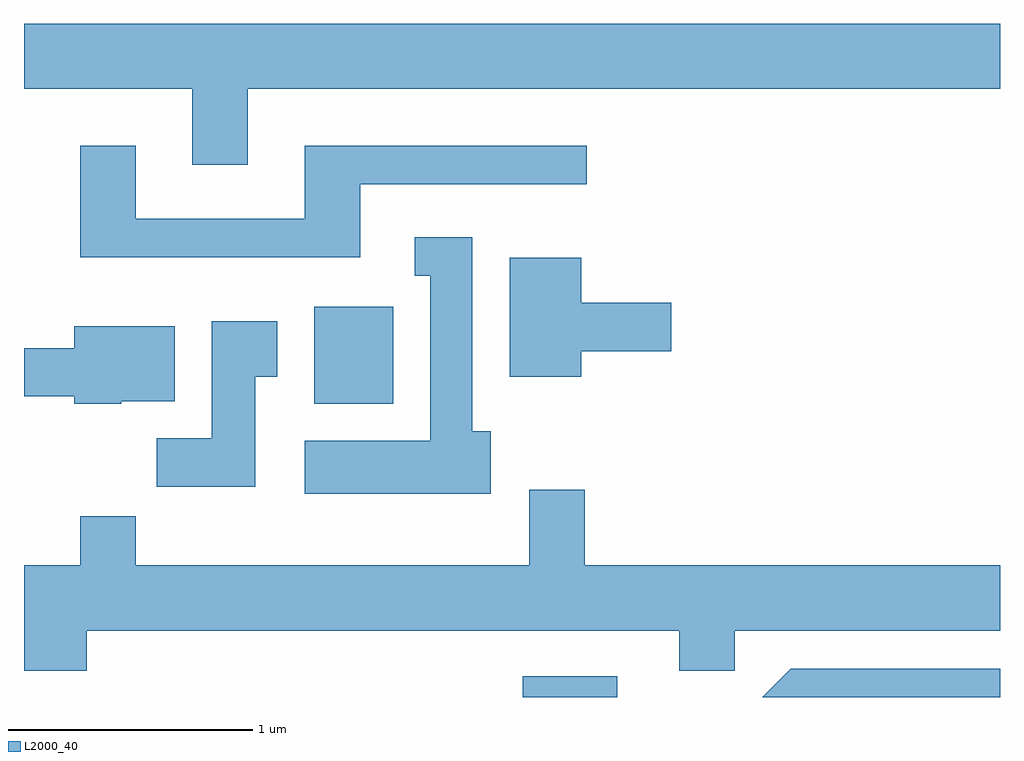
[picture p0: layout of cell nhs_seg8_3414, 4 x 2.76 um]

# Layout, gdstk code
import gdstk
lib = gdstk.Library(unit=1e-6, precision=1e-09)
def R(c, l, rs):  # rectangles x0, y0, x1, y1
    for r in rs: c.add(gdstk.rectangle(r[:2], r[2:], *l))
def P(c, l, *ps):  # polygons
    for p in ps: c.add(gdstk.Polygon(p, *l))
L2000_40 = (2000, 40)

nhs_seg8_3414 = lib.new_cell('nhs_seg8_3414')
R(nhs_seg8_3414, L2000_40, [(289.656,1858.342,290.043,1858.429), (288.801,1859.546,289.124,1859.944)])
P(nhs_seg8_3414, L2000_40, [(288.529,1860.836),(291.611,1860.836),(291.611,1861.104),(287.611,1861.104),(287.611,1860.836),(288.301,1860.836),(288.301,1860.526),(288.529,1860.526)],
  [(288.989,1860.446),(289.918,1860.446),(289.918,1860.604),(288.761,1860.604),(288.761,1860.304),(288.069,1860.304),(288.069,1860.604),(287.841,1860.604),(287.841,1860.146),(288.989,1860.146)],
  [(289.524,1859.434),(289.449,1859.434),(289.449,1860.229),(289.213,1860.229),(289.213,1860.071),(289.276,1860.071),(289.276,1859.394),(288.761,1859.394),(288.761,1859.176),(289.524,1859.176)],
  [(289.894,1859.761),(290.264,1859.761),(290.264,1859.959),(289.894,1859.959),(289.894,1860.144),(289.601,1860.144),(289.601,1859.656),(289.894,1859.656)],
  [(288.559,1859.656),(288.649,1859.656),(288.649,1859.884),(288.381,1859.884),(288.381,1859.404),(288.156,1859.404),(288.156,1859.206),(288.559,1859.206)],
  [(288.01,1859.556),(288.229,1859.556),(288.229,1859.864),(287.816,1859.864),(287.816,1859.774),(287.611,1859.774),(287.611,1859.576),(287.816,1859.576),(287.816,1859.546),(288.01,1859.546)],
  [(287.869,1858.616),(290.296,1858.616),(290.296,1858.451),(290.524,1858.451),(290.524,1858.616),(291.611,1858.616),(291.611,1858.884),(289.909,1858.884),(289.909,1859.194),(289.681,1859.194),(289.681,1858.884),(288.069,1858.884),(288.069,1859.084),(287.841,1859.084),(287.841,1858.884),(287.611,1858.884),(287.611,1858.451),(287.869,1858.451)],
  [(291.611,1858.459),(290.754,1858.459),(290.637,1858.342),(291.611,1858.342)])

lib.write_gds('nhs_seg8_3414.gds')
